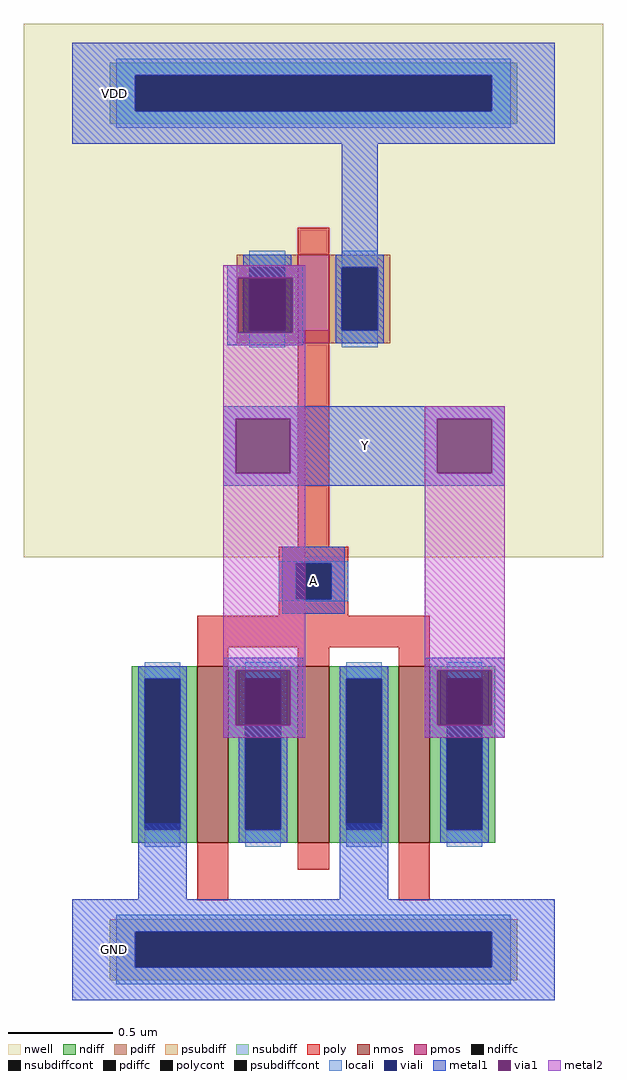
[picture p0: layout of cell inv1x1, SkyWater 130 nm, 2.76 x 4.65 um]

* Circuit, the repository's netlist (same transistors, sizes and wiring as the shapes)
** sch_path: /foss/designs/inv1x1.sch
.subckt inv1x1 A Y VDD GND
*.PININFO A:I Y:O VDD:B GND:B
XM1 Y A GND GND sky130_fd_pr__nfet_01v8 L=0.15 W=2.52 nf=3
XM2 Y A VDD VDD sky130_fd_pr__pfet_01v8 L=0.15 W=0.42 nf=1
.ends

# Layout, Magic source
magic
tech sky130A
magscale 1 2
<< nwell >>
rect -46 374 506 882
<< psubdiff >>
rect 36 17 424 29
rect 36 -17 60 17
rect 400 -17 424 17
rect 36 -29 424 -17
<< nsubdiff >>
rect 36 833 424 845
rect 36 799 60 833
rect 400 799 424 833
rect 36 787 424 799
<< psubdiffcont >>
rect 60 -17 400 17
<< nsubdiffcont >>
rect 60 799 400 833
<< poly >>
rect 215 384 245 590
rect 197 368 263 384
rect 197 334 213 368
rect 247 334 263 368
rect 197 318 263 334
rect 119 288 341 318
<< polycont >>
rect 213 334 247 368
<< locali >>
rect 42 833 418 849
rect 42 799 60 833
rect 400 799 418 833
rect 42 783 418 799
rect 197 368 263 370
rect 197 334 213 368
rect 247 334 263 368
rect 197 332 263 334
rect 42 17 418 33
rect 42 -17 60 17
rect 400 -17 418 17
rect 42 -33 418 -17
<< viali >>
rect 60 799 400 833
rect 213 334 247 368
rect 60 -17 400 17
<< metal1 >>
rect 0 833 460 864
rect 0 799 60 833
rect 400 799 460 833
rect 0 768 460 799
rect 148 640 220 652
rect 257 650 291 768
rect 148 588 158 640
rect 210 588 220 640
rect 148 576 220 588
rect 144 506 412 518
rect 144 454 156 506
rect 208 454 348 506
rect 400 454 412 506
rect 144 442 412 454
rect 200 368 260 384
rect 200 334 213 368
rect 247 334 260 368
rect 200 320 260 334
rect 144 266 220 278
rect 144 214 156 266
rect 208 214 220 266
rect 144 202 220 214
rect 336 266 412 278
rect 336 214 348 266
rect 400 214 412 266
rect 336 202 412 214
rect 63 48 109 120
rect 255 48 301 120
rect 0 17 460 48
rect 0 -17 60 17
rect 400 -17 460 17
rect 0 -48 460 -17
<< via1 >>
rect 158 588 210 640
rect 156 454 208 506
rect 348 454 400 506
rect 156 214 208 266
rect 348 214 400 266
<< metal2 >>
rect 144 640 222 652
rect 144 588 158 640
rect 210 588 222 640
rect 144 506 222 588
rect 144 454 156 506
rect 208 454 222 506
rect 144 266 222 454
rect 144 214 156 266
rect 208 214 222 266
rect 144 202 222 214
rect 336 506 412 518
rect 336 454 348 506
rect 400 454 412 506
rect 336 266 412 454
rect 336 214 348 266
rect 400 214 412 266
rect 336 202 412 214
use sky130_fd_pr__nfet_01v8_RPKUUV  xn
transform 1 0 230 0 1 186
box -173 -139 173 139
use sky130_fd_pr__pfet_01v8_YNU6YZ  xp
transform 1 0 230 0 1 620
box -109 -104 109 104
<< labels >>
rlabel metal1 200 320 260 384 0 A
port 1 nsew
rlabel metal1 240 460 320 500 0 Y
port 2 nsew
rlabel metal1 10 780 70 852 0 VDD
port 3 nsew
rlabel metal1 10 -36 70 36 0 GND
port 4 nsew
<< properties >>
string FIXED_BBOX 0 0 460 816
<< end >>

# cell sky130_fd_pr__nfet_01v8_RPKUUV: kit device sky130_fd_pr__nfet_01v8, w 0.84 l 0.15 m 1 nf 3 diffcov 100 polycov 100 guard 0 glc 1 grc 1 gtc 1 gbc 1 tbcov 100 rlcov 100 topc 0 botc 0 poverlap 0 doverlap 1 lmin 0.15 wmin 0.42 class mosfet compatible {sky130_fd_pr__nfet_01v8 sky130_fd_pr__nfet_01v8_lvt sky130_fd_bs_flash__special_sonosfet_star sky130_fd_pr__nfet_g5v0d10v5 sky130_fd_pr__nfet_05v0_nvt sky130_fd_pr__nfet_03v3_nvt} full_metal 1 conn_gates 0 viasrc 100 viadrn 100 viagate 100 viagb 0 viagr 0 viagl 0 viagt 0 doports 1

# cell sky130_fd_pr__pfet_01v8_YNU6YZ: kit device sky130_fd_pr__pfet_01v8, w 0.42 l 0.15 m 1 nf 1 diffcov 100 polycov 100 guard 0 glc 1 grc 1 gtc 1 gbc 1 tbcov 100 rlcov 100 topc 0 botc 0 poverlap 0 doverlap 1 lmin 0.15 wmin 0.42 class mosfet compatible {sky130_fd_pr__pfet_01v8 sky130_fd_pr__pfet_01v8_lvt sky130_fd_pr__pfet_01v8_hvt sky130_fd_pr__pfet_g5v0d10v5} full_metal 1 conn_gates 0 viasrc 100 viadrn 100 viagate 100 viagb 0 viagr 0 viagl 0 viagt 0 doports 1
